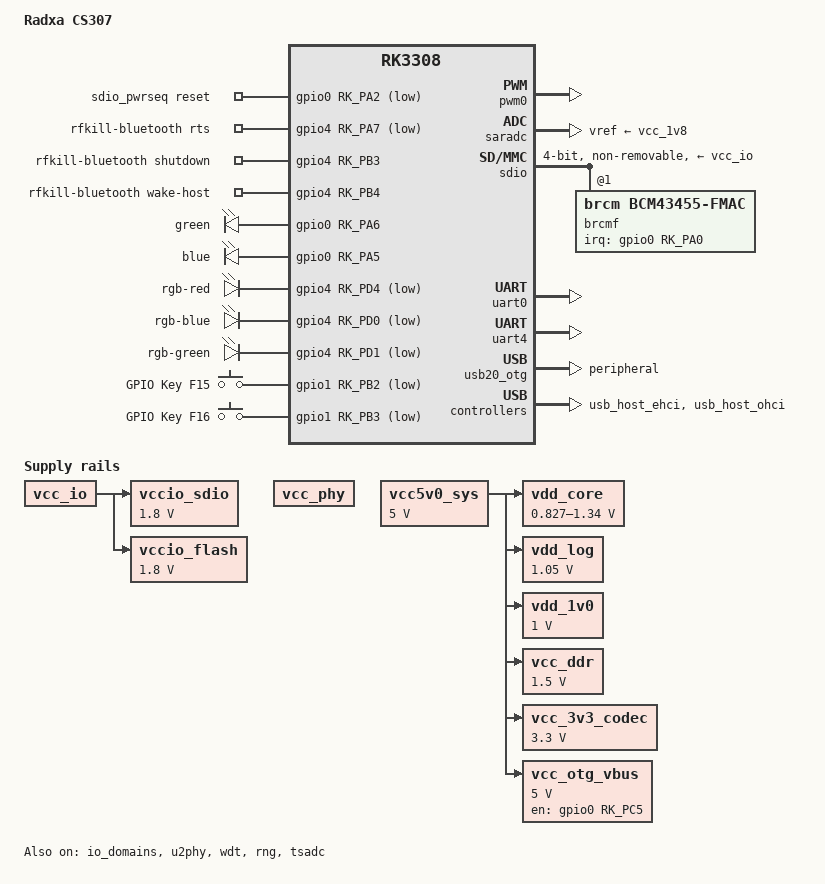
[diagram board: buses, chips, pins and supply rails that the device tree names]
// SPDX-License-Identifier: (GPL-2.0+ OR MIT)
/*
 * Copyright (c) 2019 Fuzhou Rockchip Electronics Co., Ltd
 * Copyright (c) 2021 Radxa Limited
 */

/dts-v1/;

#include <dt-bindings/gpio/gpio.h>
#include <dt-bindings/input/input.h>
#include <dt-bindings/pinctrl/rockchip.h>
#include <dt-bindings/thermal/thermal.h>
#include "rk3308.dtsi"

/ {
	model = "Radxa CS307";
	compatible = "radxa,cs307", "rockchip,rk3308";

	aliases {
		ethernet0 = &gmac;
		mmc0 = &emmc;
		mmc1 = &sdmmc;
		mmc2 = &sdio;
	};

	chosen {
		stdout-path = "serial0:1500000n8";
	};

	sdio_pwrseq: sdio-pwrseq {
		compatible = "mmc-pwrseq-simple";
		clocks = <&cru SCLK_RTC32K>;
		clock-names = "ext_clock";
		assigned-clocks = <&cru SCLK_RTC32K>;
		assigned-clock-rates = <32768>;
		pinctrl-names = "default";
		pinctrl-0 = <&wifi_enable_h>;
		/*
		 * On the module itself this is one of these (depending
		 * on the actual card populated):
		 * - SDIO_RESET_L_WL_REG_ON
		 * - PDN (power down when low)
		 */
		post-power-on-delay-ms = <200>;
		power-off-delay-us = <5000000>;
		reset-gpios = <&gpio0 RK_PA2 GPIO_ACTIVE_LOW>;
	};

	rfkill_bt: rfkill-bt {
		compatible = "rfkill-gpio";
		label = "rfkill-bluetooth";
		radio-type = "bluetooth";
		default-blocked;
		clocks = <&cru SCLK_RTC32K>;
		pinctrl-names = "default", "rts_gpio";
		pinctrl-0 = <&bt_reg_on &bt_wake_host &uart4_rts>;
		pinctrl-1 = <&bt_reg_on &bt_wake_host &uart4_rts_pin>;
		rts-gpios = <&gpio4 RK_PA7 GPIO_ACTIVE_LOW>;
		shutdown-gpios = <&gpio4 RK_PB3 GPIO_ACTIVE_HIGH>;
		wake-host-gpios = <&gpio4 RK_PB4 GPIO_ACTIVE_HIGH>;
	};

	leds: gpio-leds {
		compatible = "gpio-leds";
		pinctrl-names = "default";
		pinctrl-0 = <&green_led_pin &blue_led_pin &rgb_red_pin &rgb_blue_pin &rgb_green_pin>;
		status = "okay";

		green-led {
			label = "green";
			gpios = <&gpio0 RK_PA6 GPIO_ACTIVE_HIGH>;
			linux,default-trigger = "none";
			default-state = "off";
		};

		blue-led {
			label = "blue";
			gpios = <&gpio0 RK_PA5 GPIO_ACTIVE_HIGH>;
			linux,default-trigger = "none";
			default-state = "off";
		};

		rgb-red {
			label = "rgb-red";
			gpios = <&gpio4 RK_PD4 GPIO_ACTIVE_LOW>;
			linux,default-trigger = "none";
			default-state = "off";
		};

		rgb-blue {
			label = "rgb-blue";
			gpios = <&gpio4 RK_PD0 GPIO_ACTIVE_LOW>;
			linux,default-trigger = "none";
			default-state = "off";
		};

		rgb-green {
			label = "rgb-green";
			gpios = <&gpio4 RK_PD1 GPIO_ACTIVE_LOW>;
			linux,default-trigger = "default-on";
			default-state = "on";
		};
	};

	gpio-keys {
		compatible = "gpio-keys";
		autorepeat;
		pinctrl-names = "default";
		pinctrl-0 = <&pwrbtn>;

		F15 {
			gpios = <&gpio1 RK_PB2 GPIO_ACTIVE_LOW>;
			linux,code = <KEY_F15>;
			label = "GPIO Key F15";
			linux,input-type = <1>;
			debounce-interval = <100>;
			wakeup-source;
		};

		F16 {
			gpios = <&gpio1 RK_PB3 GPIO_ACTIVE_LOW>;
			linux,code = <KEY_F16>;
			label = "GPIO Key F16";
			linux,input-type = <1>;
			debounce-interval = <100>;
			wakeup-source;
		};
	};

	vdd_core: vdd-core {
		compatible = "pwm-regulator";
		pwms = <&pwm0 0 5000 1>;
		regulator-name = "vdd_core";
		regulator-min-microvolt = <827000>;
		regulator-max-microvolt = <1340000>;
		regulator-init-microvolt = <1015000>;
		regulator-always-on;
		regulator-boot-on;
		regulator-settling-time-up-us = <250>;
		pwm-supply = <&vcc5v0_sys>;
		status = "okay";
	};

	vdd_log: vdd-log {
		compatible = "regulator-fixed";
		regulator-name = "vdd_log";
		regulator-always-on;
		regulator-boot-on;
		regulator-min-microvolt = <1050000>;
		regulator-max-microvolt = <1050000>;
		vin-supply = <&vcc5v0_sys>;
	};

	vdd_1v0: vdd-1v0 {
		compatible = "regulator-fixed";
		regulator-name = "vdd_1v0";
		regulator-always-on;
		regulator-boot-on;
		regulator-min-microvolt = <1000000>;
		regulator-max-microvolt = <1000000>;
		vin-supply = <&vcc5v0_sys>;
	};

	vcc_ddr: vcc-ddr {
		compatible = "regulator-fixed";
		regulator-name = "vcc_ddr";
		regulator-always-on;
		regulator-boot-on;
		regulator-min-microvolt = <1500000>;
		regulator-max-microvolt = <1500000>;
		vin-supply = <&vcc5v0_sys>;
	};

	vccio_sdio: vcc_1v8: vcc-1v8 {
		compatible = "regulator-fixed";
		regulator-name = "vcc_1v8";
		regulator-always-on;
		regulator-boot-on;
		regulator-min-microvolt = <1800000>;
		regulator-max-microvolt = <1800000>;
		vin-supply = <&vcc_io>;
	};

	vccio_flash: vccio-flash {
		compatible = "regulator-fixed";
		regulator-name = "vccio_flash";
		regulator-always-on;
		regulator-boot-on;
		regulator-min-microvolt = <1800000>;
		regulator-max-microvolt = <1800000>;
		vin-supply = <&vcc_io>;
	};

	vcc_3v3_codec: vcc_io: vcc-io {
		compatible = "regulator-fixed";
		regulator-name = "vcc_io";
		regulator-always-on;
		regulator-boot-on;
		regulator-min-microvolt = <3300000>;
		regulator-max-microvolt = <3300000>;
		vin-supply = <&vcc5v0_sys>;
	};

	vcc_phy: vcc-phy-regulator {
		compatible = "regulator-fixed";
		regulator-name = "vcc_phy";
		regulator-always-on;
		regulator-boot-on;
	};

	vcc_otg_vbus: otg-vbus-regulator {
		compatible = "regulator-fixed";
		enable-active-high;
		gpio = <&gpio0 RK_PC5 GPIO_ACTIVE_HIGH>;
		pinctrl-names = "default";
		pinctrl-0 = <&otg_vbus_drv>;
		regulator-name = "vcc_otg_vbus";
		regulator-min-microvolt = <5000000>;
		regulator-max-microvolt = <5000000>;
		vin-supply = <&vcc5v0_sys>;
	};

	vcc5v0_sys: vcc5v0-sys {
		compatible = "regulator-fixed";
		regulator-name = "vcc5v0_sys";
		regulator-always-on;
		regulator-boot-on;
		regulator-min-microvolt = <5000000>;
		regulator-max-microvolt = <5000000>;
	};

	thermal_zones: thermal-zones {
		soc_thermal: soc-thermal {
			polling-delay-passive = <20>;
			polling-delay = <1000>;
			sustainable-power = <308>;
			thermal-sensors = <&tsadc 0>;

			trips {
				threshold: trip-point-0 {
					temperature = <55000>;
					hysteresis = <2000>;
					type = "passive";
				};

				target: trip-point-1 {
					temperature = <90000>;
					hysteresis = <2000>;
					type = "passive";
				};

				soc_crit: soc-crit {
					temperature = <115000>;
					hysteresis = <2000>;
					type = "critical";
				};
			};

			cooling-maps {
				map0 {
					trip = <&target>;
					cooling-device = <&cpu0 THERMAL_NO_LIMIT THERMAL_NO_LIMIT>;
					contribution = <4096>;
				};
			};
		};

		logic_thermal: logic-thermal {
			polling-delay-passive = <100>;
			polling-delay = <1000>;
			thermal-sensors = <&tsadc 1>;

			trips {
				logic_crit: logic-crit {
					temperature = <115000>;
					hysteresis = <2000>;
					type = "critical";
				};
			};
		};
	};

	rng: rng@ff2f0000 {
		compatible = "rockchip,rk3308-rng", "rockchip,rk3568-rng";
		reg = <0x0 0xff2f0000 0x0 0x4000>;
		clocks = <&cru SCLK_CRYPTO>, <&cru SCLK_CRYPTO_APK>,
			 <&cru ACLK_CRYPTO>, <&cru HCLK_CRYPTO>;
		clock-names = "clk_crypto", "clk_crypto_apk",
			      "aclk_crypto", "hclk_crypto";
		assigned-clocks = <&cru SCLK_CRYPTO>, <&cru SCLK_CRYPTO_APK>,
				  <&cru ACLK_CRYPTO>, <&cru HCLK_CRYPTO>;
		assigned-clock-rates = <150000000>, <150000000>,
				       <200000000>, <100000000>;
		resets = <&cru SRST_CRYPTO>;
		reset-names = "reset";
		status = "okay";
	};

	tsadc: tsadc@ff1f0000 {
		compatible = "rockchip,rk3308-tsadc", "rockchip,px30-tsadc";
		reg = <0x0 0xff1f0000 0x0 0x100>;
		interrupts = <GIC_SPI 38 IRQ_TYPE_LEVEL_HIGH>;
		rockchip,grf = <&grf>;
		clocks = <&cru SCLK_TSADC>, <&cru PCLK_TSADC>;
		clock-names = "tsadc", "apb_pclk";
		assigned-clocks = <&cru SCLK_TSADC>;
		assigned-clock-rates = <50000>;
		resets = <&cru SRST_TSADC>;
		reset-names = "tsadc-apb";
		pinctrl-names = "init", "default", "sleep";
		pinctrl-0 = <&tsadc_otp_pin>;
		pinctrl-1 = <&tsadc_otp_out>;
		pinctrl-2 = <&tsadc_otp_pin>;
		#thermal-sensor-cells = <1>;
		rockchip,hw-tshut-temp = <120000>;
		rockchip,hw-tshut-mode = <0>;
		rockchip,hw-tshut-polarity = <1>;
		status = "okay";
	};
};

&cpu0 {
	cpu-supply = <&vdd_core>;
	/delete-property/ cpu-idle-states;
};

&cpu1 {
	/delete-property/ cpu-idle-states;
};

&cpu2 {
	/delete-property/ cpu-idle-states;
};

&cpu3 {
	/delete-property/ cpu-idle-states;
};

&emmc {
	bus-width = <8>;
	cap-mmc-highspeed;
	disable-wp;
	no-sd;
	no-sdio;
	non-removable;
	pinctrl-names = "default";
	pinctrl-0 = <&emmc_bus8 &emmc_clk &emmc_cmd>;
	vmmc-supply = <&vcc_io>;
	status = "disabled";
};

&gmac {
	phy-supply = <&vcc_phy>;
	clock_in_out = "output";
	assigned-clocks = <&cru SCLK_MAC>;
	assigned-clock-parents = <&cru SCLK_MAC_SRC>;
	snps,reset-gpio = <&gpio0 RK_PA7 GPIO_ACTIVE_LOW>;
	snps,reset-active-low;
	snps,reset-delays-us = <0 50000 50000>;
	status = "disabled";
};

&io_domains {
	status = "okay";
	vccio0-supply = <&vcc_io>;
	vccio1-supply = <&vcc_io>;
	vccio2-supply = <&vcc_1v8>;
	vccio3-supply = <&vccio_flash>;
	vccio4-supply = <&vccio_sdio>;
	vccio5-supply = <&vcc_io>;
};

&pinctrl {
	pinctrl-names = "default";
	pinctrl-0 = <&rtc_32k>;

	leds {
		green_led_pin: green-led-pin {
			rockchip,pins = <0 RK_PA6 RK_FUNC_GPIO &pcfg_pull_none>;
		};

		blue_led_pin: blue-led-pin {
			rockchip,pins = <0 RK_PA5 RK_FUNC_GPIO &pcfg_pull_none>;
		};

		rgb_red_pin: rgb-red-pin {
			rockchip,pins = <4 RK_PD4 RK_FUNC_GPIO &pcfg_pull_none>;
		};

		rgb_blue_pin: rgb-blue-pin {
			rockchip,pins = <4 RK_PD0 RK_FUNC_GPIO &pcfg_pull_none>;
		};

		rgb_green_pin: rgb-green-pin {
			rockchip,pins = <4 RK_PD1 RK_FUNC_GPIO &pcfg_pull_none>;
		};
	};

	key {
		pwrbtn: pwrbtn {
			rockchip,pins =
				<1 RK_PB2 RK_FUNC_GPIO &pcfg_pull_up>,
				<1 RK_PB3 RK_FUNC_GPIO &pcfg_pull_up>;
		};
	};

	usb {
		otg_vbus_drv: otg-vbus-drv {
			rockchip,pins = <0 RK_PC5 RK_FUNC_GPIO &pcfg_pull_none>;
		};
	};

	sdio-pwrseq {
		wifi_enable_h: wifi-enable-h {
			rockchip,pins = <0 RK_PA2 RK_FUNC_GPIO &pcfg_pull_none>;
		};
	};

	wireless-wlan {
		wifi_wake_host: wifi-wake-host {
			rockchip,pins = <0 RK_PA0 RK_FUNC_GPIO &pcfg_pull_down>;
		};
	};

	wireless-bluetooth {
		bt_reg_on: bt-reg-on {
			rockchip,pins = <4 RK_PB3 RK_FUNC_GPIO &pcfg_pull_none>;
		};

		bt_wake_host: bt-wake-host {
			rockchip,pins = <4 RK_PB4 RK_FUNC_GPIO &pcfg_pull_none>;
		};

		host_wake_bt: host-wake-bt {
			rockchip,pins = <4 RK_PB2 RK_FUNC_GPIO &pcfg_pull_none>;
		};
	};
};

&pwm0 {
	status = "okay";
	pinctrl-names = "default";
	pinctrl-0 = <&pwm0_pin_pull_down>;
};

&saradc {
	status = "okay";
	vref-supply = <&vcc_1v8>;
};

&sdio {
	#address-cells = <1>;
	#size-cells = <0>;
	bus-width = <4>;
	cap-sd-highspeed;
	cap-sdio-irq;
	keep-power-in-suspend;
	max-frequency = <110000000>;
	mmc-pwrseq = <&sdio_pwrseq>;
	no-mmc;
	no-sd;
	non-removable;
	sd-uhs-sdr104;
	vmmc-supply = <&vcc_io>;
	vqmmc-supply = <&vccio_sdio>;
	status = "okay";

	brcmf: wifi@1 {
		compatible = "brcm,bcm43455-fmac", "brcm,bcm4329-fmac";
		reg = <1>;
		clocks = <&cru SCLK_RTC32K>;
		clock-names = "lpo";
		brcm,ccode-map-trivial;
		interrupt-parent = <&gpio0>;
		interrupts = <RK_PA0 IRQ_TYPE_LEVEL_HIGH>;
		interrupt-names = "host-wake";
		pinctrl-names = "default";
		pinctrl-0 = <&wifi_wake_host>;
	};
};

&sdmmc {
	status = "disabled";
};

&spdif_tx {
	status = "disabled";
};

&u2phy {
	status = "okay";

	u2phy_host: host-port {
		phy-supply = <&vcc_otg_vbus>;
		status = "okay";
	};

	u2phy_otg: otg-port {
		phy-supply = <&vcc_otg_vbus>;
		status = "okay";
	};
};

&uart0 {
	pinctrl-names = "default";
	pinctrl-0 = <&uart0_xfer>;
	status = "okay";
};

&uart4 {
	pinctrl-names = "default";
	pinctrl-0 = <&uart4_xfer &uart4_cts>;
	uart-has-rtscts;
	status = "okay";
};

&usb20_otg {
	dr_mode = "peripheral";
	status = "okay";
};

&usb_host_ehci {
	status = "okay";
};

&usb_host_ohci {
	status = "okay";
};

&wdt {
	status = "okay";
};
